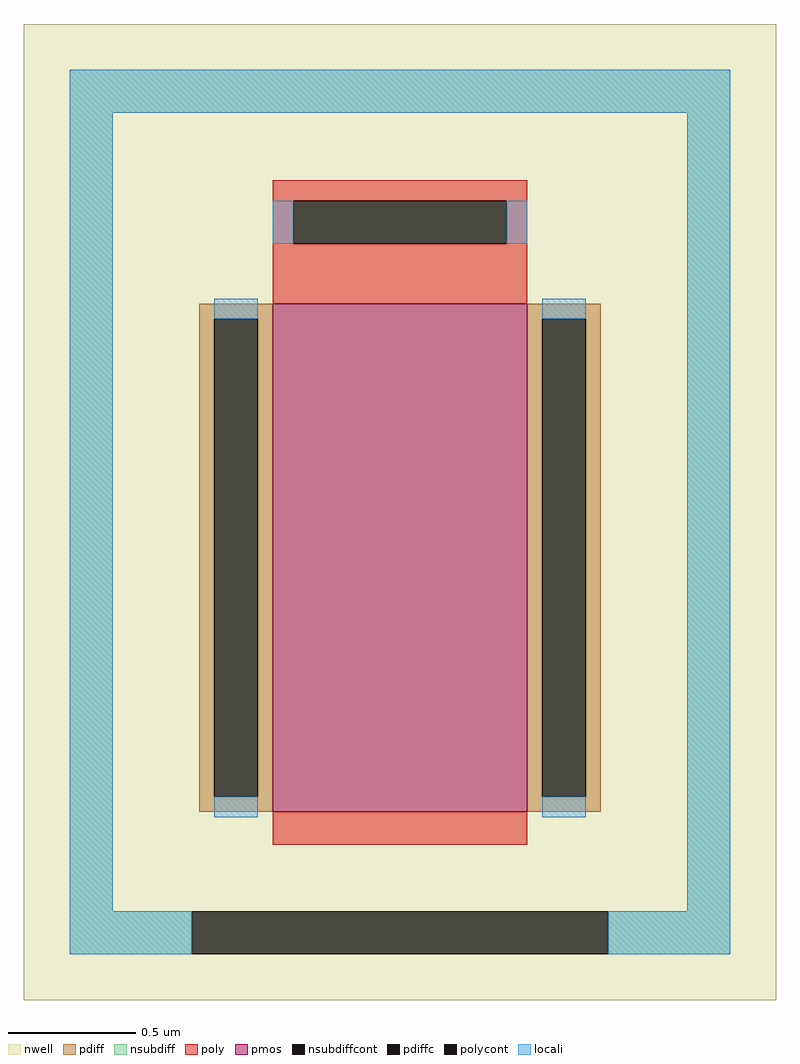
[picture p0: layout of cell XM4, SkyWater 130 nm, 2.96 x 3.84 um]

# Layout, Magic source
magic
tech sky130A
magscale 1 2
<< nwell >>
rect -296 -384 296 384
<< pmos >>
rect -100 -236 100 164
<< pdiff >>
rect -158 152 -100 164
rect -158 -224 -146 152
rect -112 -224 -100 152
rect -158 -236 -100 -224
rect 100 152 158 164
rect 100 -224 112 152
rect 146 -224 158 152
rect 100 -236 158 -224
<< pdiffc >>
rect -146 -224 -112 152
rect 112 -224 146 152
<< nsubdiff >>
rect -260 314 260 348
rect -260 -314 -226 314
rect 226 -314 260 314
rect -260 -348 -164 -314
rect 164 -348 260 -314
<< nsubdiffcont >>
rect -164 -348 164 -314
<< poly >>
rect -100 245 100 261
rect -100 211 -84 245
rect 84 211 100 245
rect -100 164 100 211
rect -100 -262 100 -236
<< polycont >>
rect -84 211 84 245
<< locali >>
rect -260 314 260 348
rect -260 -314 -226 314
rect -100 211 -84 245
rect 84 211 100 245
rect -146 152 -112 168
rect -146 -240 -112 -224
rect 112 152 146 168
rect 112 -240 146 -224
rect 226 -314 260 314
rect -260 -348 -164 -314
rect 164 -348 260 -314
<< properties >>
string FIXED_BBOX -243 -331 243 331
<< end >>
